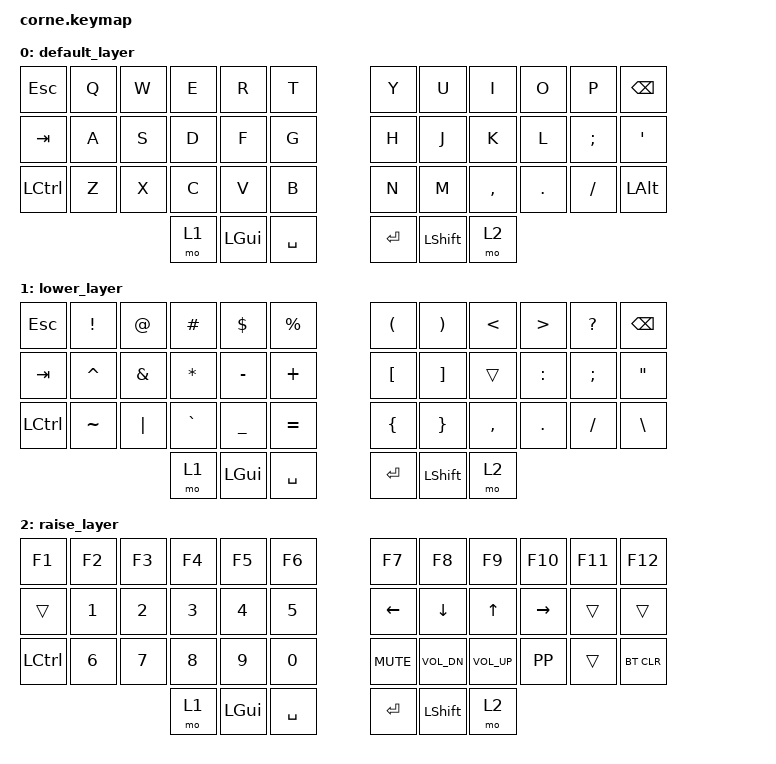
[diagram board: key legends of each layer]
/*
 * Copyright (c) 2020 The ZMK Contributors
 *
 * SPDX-License-Identifier: MIT
 */

#include <behaviors.dtsi>
#include <dt-bindings/zmk/keys.h>
#include <dt-bindings/zmk/bt.h>

/ {
        keymap {
                compatible = "zmk,keymap";

                default_layer {
// -------------------------------------------------------------------------------
// | ESC  |  Q  |  W  |  E  |  R  |  T  |   |  Y  |  U  |  I  |  O  |  P  | BSPC |
// | TAB  |  A  |  S  |  D  |  F  |  G  |   |  H  |  J  |  K  |  L  |  ;  |  '   |
// | CTRL |  Z  |  X  |  C  |  V  |  B  |   |  N  |  M  |  ,  |  .  |  /  | ALT  |
//                    | LWE | GUI | SPC |   | ENT |SHIFT| RSE |

                        bindings = <
   &kp ESC   &kp Q &kp W &kp E &kp R &kp T &kp Y &kp U &kp I     &kp O   &kp P    &kp BSPC
   &kp TAB   &kp A &kp S &kp D &kp F &kp G &kp H &kp J &kp K     &kp L   &kp SEMI &kp SQT
   &kp LCTRL &kp Z &kp X &kp C &kp V &kp B &kp N &kp M &kp COMMA &kp DOT &kp FSLH &kp LALT
                   &mo 1 &kp LGUI &kp SPACE   &kp RET  &kp LSHFT &mo 2
   >;

                };
                lower_layer {
// -------------------------------------------------------------------------------
// | ESC  |  !  |  @  |  #  |  $  |  %  |   |  (  |  )  |  <  |  >  |  ?  | BSPC |
// | TAB  |  ^  |  &  |  *  |  -  |  +  |   |  [  |  ]  |     |  :  |  ;  |  "   |
// | CTRL |  ~  |  |  |  `  |  _  |  =  |   |  {  |  }  |  ,  |  .  |  /  |  \   |
//                    | LWE | GUI | SPC |   | ENT |SHIFT| RSE |

                        bindings = <
   &kp ESC   &kp EXCL  &kp AT    &kp HASH  &kp DLLR  &kp PRCNT   &kp LPAR  &kp RPAR &kp LT    &kp GT    &kp QMARK &kp BSPC
   &kp TAB   &kp CARET &kp AMPS  &kp ASTRK &kp MINUS &kp PLUS    &kp LBKT  &kp RBKT &trans    &kp COLON &kp SEMI  &kp DQT
   &kp LCTRL &kp TILDE &kp PIPE  &kp GRAVE &kp UNDER &kp EQUAL   &kp LBRC  &kp RBRC &kp COMMA &kp DOT   &kp FSLH  &kp BSLH
                 &mo 1 &kp LGUI  &kp SPACE &kp RET   &kp LSHFT   &mo 2
   >;
                };
                raise_layer {

// --------------------------------------------------------------------------------
// |  F1  | F2  | F3  | F4  | F5  | F6  |   | F7  | F8  | F9  | F10 | F11 | F12  |
// |      |  1  |  2  |  3  |  4  |  5  |   | LFT |  DN |  UP | RGT |     |      |
// | CTRL |  6  |  7  |  8  |  9  |  0  |   | VMU | VDN | VUP | MPP |     | BTCL |
//                    | LWE | GUI | SPC |   | ENT |SHIFT| RSE |

                        bindings = <
   &kp F1    &kp F2   &kp F3   &kp F4   &kp F5   &kp F6    &kp F7       &kp F8       &kp F9       &kp F10   &kp F11   &kp F12
   &trans    &kp N1   &kp N2   &kp N3   &kp N4   &kp N5    &kp LEFT     &kp DOWN     &kp UP       &kp RIGHT &trans    &trans
   &kp LCTRL &kp N6   &kp N7   &kp N8   &kp N9   &kp N0    &kp K_MUTE   &kp K_VOL_DN &kp K_VOL_UP &kp K_PP  &trans    &bt BT_CLR
                      &mo 1 &kp LGUI &kp SPACE   &kp RET &kp LSHFT &mo 2
   >;
                };
        };
};
